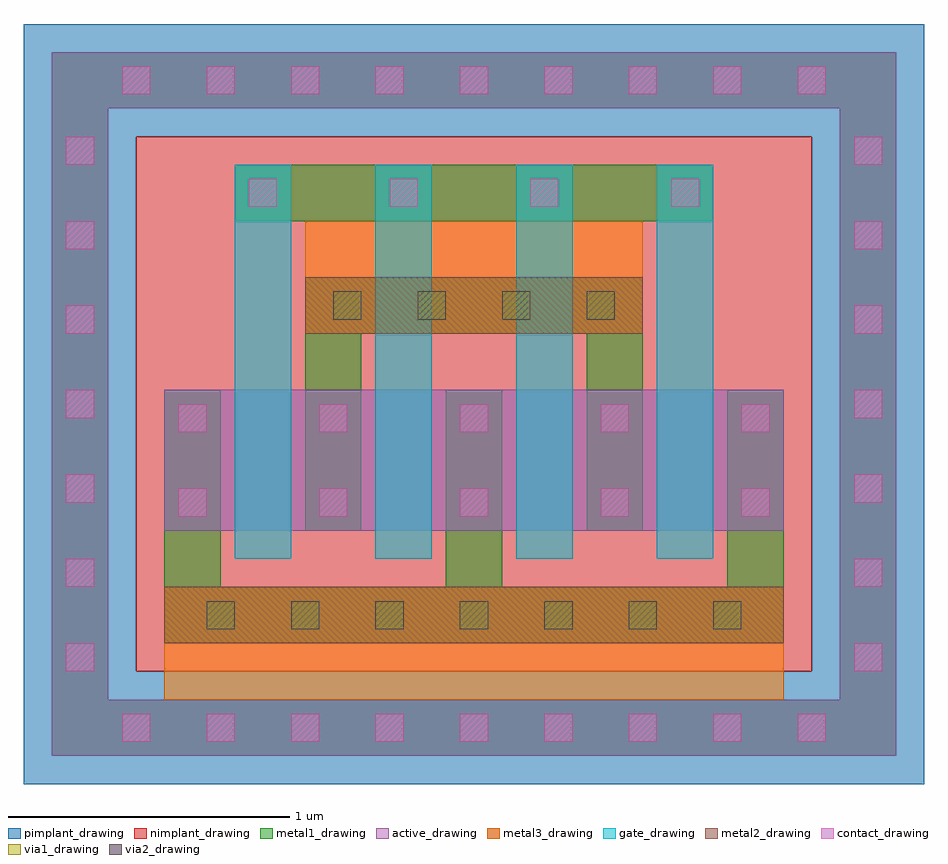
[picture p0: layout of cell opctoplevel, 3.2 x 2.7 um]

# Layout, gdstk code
import gdstk
lib = gdstk.Library(unit=1e-6, precision=1e-09)
def R(c, l, rs):  # rectangles x0, y0, x1, y1
    for r in rs: c.add(gdstk.rectangle(r[:2], r[2:], *l))
def A(c, l, x, y, w, h, nx, ny, dx, dy):  # array of equal rectangles
    R(c, l, [(x+i*dx, y+j*dy, x+i*dx+w, y+j*dy+h) for i in range(nx) for j in range(ny)])
active_drawing = (1, 0)
pimplant_drawing = (4, 0)
nimplant_drawing = (5, 0)
gate_drawing = (6, 0)
contact_drawing = (7, 0)
metal1_drawing = (8, 0)
via1_drawing = (9, 0)
metal2_drawing = (10, 0)
via2_drawing = (11, 0)
metal3_drawing = (12, 0)

opctoplevel = lib.new_cell('opctoplevel')
R(opctoplevel, active_drawing, [(-0.65,-0.8,2.35,-0.6), (-0.65,-0.8,-0.45,1.7), (2.15,-0.8,2.35,1.7), (-0.25,0,1.95,0.5), (-0.65,1.5,2.35,1.7)])
R(opctoplevel, pimplant_drawing, [(-0.75,-0.9,2.45,-0.5), (-0.75,-0.9,-0.35,1.8), (2.05,-0.9,2.45,1.8), (-0.75,1.4,2.45,1.8)])
R(opctoplevel, nimplant_drawing, [(-0.35,-0.5,2.05,1.4)])
A(opctoplevel, gate_drawing, 0, -0.1, 0.2, 1.4, 4, 1, 0.5, 0)
A(opctoplevel, contact_drawing, -0.4, -0.75, 0.1, 0.1, 9, 2, 0.3, 2.3)
A(opctoplevel, contact_drawing, -0.6, -0.5, 0.1, 0.1, 1, 7, 0, 0.3)
A(opctoplevel, contact_drawing, 2.2, -0.5, 0.1, 0.1, 1, 7, 0, 0.3)
A(opctoplevel, contact_drawing, -0.2, 0.05, 0.1, 0.1, 5, 2, 0.5, 0.3)
A(opctoplevel, contact_drawing, 0.05, 1.15, 0.1, 0.1, 4, 1, 0.5, 0)
A(opctoplevel, metal1_drawing, -0.25, -0.2, 0.2, 0.2, 3, 1, 1, 0)
A(opctoplevel, metal1_drawing, -0.25, 0, 0.2, 0.5, 5, 1, 0.5, 0)
R(opctoplevel, metal1_drawing, [(-0.65,-0.8,2.35,-0.6), (-0.65,-0.8,-0.45,1.7), (2.15,-0.8,2.35,1.7), (-0.25,-0.4,1.95,-0.2), (0.25,0.5,0.45,0.7), (1.25,0.5,1.45,0.7), (0.25,0.7,1.45,0.9), (0,1.1,1.7,1.3), (-0.65,1.5,2.35,1.7)])
A(opctoplevel, via1_drawing, -0.1, -0.35, 0.1, 0.1, 7, 1, 0.3, 0)
A(opctoplevel, via1_drawing, 0.35, 0.75, 0.1, 0.1, 4, 1, 0.3, 0)
R(opctoplevel, metal2_drawing, [(-0.25,-0.4,1.95,-0.2), (0.25,0.7,1.45,0.9)])
A(opctoplevel, via2_drawing, -0.1, -0.35, 0.1, 0.1, 7, 1, 0.3, 0)
A(opctoplevel, via2_drawing, 0.35, 0.75, 0.1, 0.1, 4, 1, 0.3, 0)
R(opctoplevel, metal3_drawing, [(-0.25,-0.6,1.95,-0.2), (0.25,0.7,1.45,1.1)])

lib.write_gds('opctoplevel.gds')
